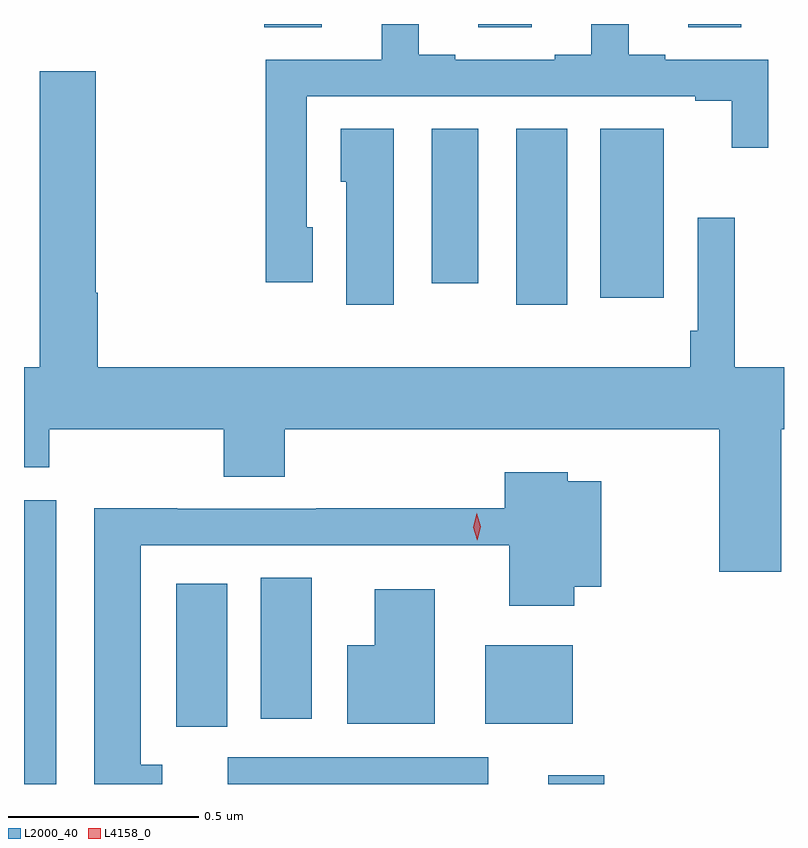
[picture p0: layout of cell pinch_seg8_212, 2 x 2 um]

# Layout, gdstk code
import gdstk
lib = gdstk.Library(unit=1e-6, precision=1e-09)
def R(c, l, rs):  # rectangles x0, y0, x1, y1
    for r in rs: c.add(gdstk.rectangle(r[:2], r[2:], *l))
def P(c, l, *ps):  # polygons
    for p in ps: c.add(gdstk.Polygon(p, *l))
L2000_40 = (2000, 40)
L4158_0 = (4158, 0)

pinch_seg8_212 = lib.new_cell('pinch_seg8_212')
R(pinch_seg8_212, L2000_40, [(630.711,1104.911,630.796,1105.658), (631.247,1104.911,631.933,1104.981), (632.09,1104.911,632.238,1104.934), (631.112,1105.062,631.246,1105.438), (631.925,1105.07,632.155,1105.276), (631.334,1105.083,631.468,1105.454), (632.006,1106.172,632.14,1106.636), (632.228,1106.19,632.395,1106.636), (631.784,1106.229,631.906,1106.636), (631.343,1106.902,631.495,1106.911), (631.907,1106.902,632.047,1106.911), (632.459,1106.902,632.599,1106.911)])
P(pinch_seg8_212, L2000_40, [(631.471,1106.376),(631.455,1106.376),(631.455,1106.721),(632.477,1106.721),(632.477,1106.709),(632.573,1106.709),(632.573,1106.586),(632.67,1106.586),(632.67,1106.817),(632.398,1106.817),(632.398,1106.83),(632.302,1106.83),(632.302,1106.911),(632.204,1106.911),(632.204,1106.83),(632.108,1106.83),(632.108,1106.817),(631.846,1106.817),(631.846,1106.83),(631.75,1106.83),(631.75,1106.911),(631.652,1106.911),(631.652,1106.817),(631.347,1106.817),(631.347,1106.232),(631.471,1106.232)],
  [(632.704,1105.844),(632.711,1105.844),(632.711,1106.008),(632.582,1106.008),(632.582,1106.401),(632.484,1106.401),(632.484,1106.104),(632.464,1106.104),(632.464,1106.008),(630.905,1106.008),(630.905,1106.204),(630.9,1106.204),(630.9,1106.787),(630.752,1106.787),(630.752,1106.008),(630.711,1106.008),(630.711,1105.745),(630.777,1105.745),(630.777,1105.844),(631.237,1105.844),(631.237,1105.72),(631.397,1105.72),(631.397,1105.844),(632.54,1105.844),(632.54,1105.47),(632.704,1105.47)],
  [(631.684,1106.636),(631.544,1106.636),(631.544,1106.496),(631.559,1106.496),(631.559,1106.172),(631.684,1106.172)],
  [(631.075,1104.962),(631.018,1104.962),(631.018,1105.539),(631.988,1105.539),(631.988,1105.38),(632.159,1105.38),(632.159,1105.43),(632.23,1105.43),(632.23,1105.708),(632.142,1105.708),(632.142,1105.732),(631.976,1105.732),(631.976,1105.637),(631.48,1105.637),(631.48,1105.635),(631.114,1105.635),(631.114,1105.637),(630.896,1105.637),(630.896,1104.911),(631.075,1104.911)],
  [(631.792,1105.423),(631.634,1105.423),(631.634,1105.276),(631.562,1105.276),(631.562,1105.07),(631.792,1105.07)])
P(pinch_seg8_212, L4158_0, [(631.904,1105.552),(631.904,1105.552),(631.893,1105.587),(631.902,1105.623),(631.902,1105.623),(631.902,1105.623),(631.913,1105.588),(631.904,1105.552)])

lib.write_gds('pinch_seg8_212.gds')
